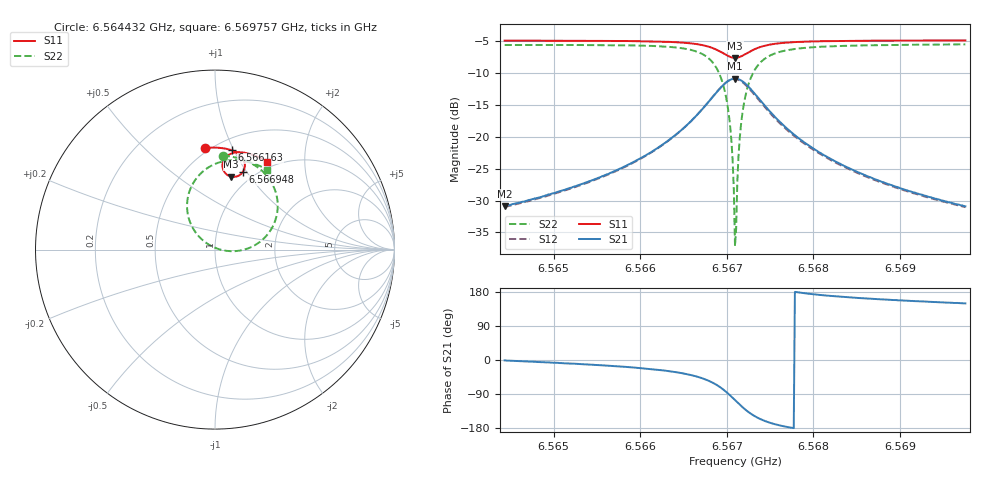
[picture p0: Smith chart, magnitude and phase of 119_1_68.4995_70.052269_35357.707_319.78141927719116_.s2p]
#  HZ  S  RI  R  50.00
! Rohde & Schwarz Vector Network Analyzer
! Rohde-Schwarz,ZNB20-2Port,1311601062101988,3.16
! Created: UTC 3/20/2024, 5:09:01 PM
! freq[Hz]  re:S11  im:S11  re:S21  im:S21  re:S12  im:S12  re:S22  im:S22
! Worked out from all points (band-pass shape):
!   401 points, 6.564432 GHz to 6.569757 GHz, reference 50 ohm
!   highest |S21| = -10.85 dB at 6.567095 GHz (marker M1); lowest = -30.9 dB at 6.564432 GHz (marker M2)
!   |S21| within 3 dB of the highest: 6.566829 GHz to 6.567361 GHz (531.8 kHz wide, 0.0081 % of centre)
!   lowest |S11| = -7.6 dB at 6.567095 GHz (marker M3), VSWR 2.43, Z = 41.6 + j40.9 ohm
!   |S11| at or under -10 dB: nowhere
!   |S22| runs from -37.1 to -5.5 dB; largest |S21 - S12| = 0.014
!   S11 on the Smith chart (normalised r, x): 6.564432 GHz: 0.47, +0.79; 6.566163 GHz: 0.61, +0.98; 6.566948 GHz: 0.88, +0.95; 6.569757 GHz: 0.91, +1.32
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6.5644321e9  -0.0571 0.5661  0.0284 -0.000499  0.028 -0.00109  0.0429 0.524
6.565324e9  0.0162 0.5676  0.0419 -0.00819  0.0412 -0.00877  0.1282 0.5096
6.5661627e9  0.0952 0.5528  0.0714 -0.033  0.0704 -0.0338  0.2394 0.4572
6.5662159e9  0.1008 0.5505  0.0746 -0.0367  0.0734 -0.0374  0.2488 0.4498
6.5665221e9  0.1367 0.5295  0.097 -0.0719  0.0956 -0.0734  0.3107 0.3803
6.5667351e9  0.1613 0.4961  0.1101 -0.1301  0.1075 -0.1327  0.3485 0.2682
6.5668549e9  0.1661 0.4629  0.0996 -0.1881  0.0947 -0.1915  0.3343 0.1577
6.5669481e9  0.1537 0.4305  0.0608 -0.2434  0.0525 -0.2464  0.2641 0.0546
6.566988e9  0.1413 0.4179  0.0312 -0.2641  0.0211 -0.2657  0.2097 0.0175
6.567028e9  0.1243 0.4087  -0.0063 -0.2779  -0.018 -0.2772  0.1408 -0.00521
6.5670546e9  0.1112 0.4057  -0.0346 -0.2812  -0.0467 -0.2785  0.0898 -0.00905
6.5670812e9  0.0973 0.4054  -0.0637 -0.2792  -0.0759 -0.2743  0.038 -0.00217
6.5670945e9  0.0902 0.4065  -0.078 -0.2758  -0.0902 -0.2697  0.0128 0.00537
6.5671211e9  0.077 0.4111  -0.1056 -0.265  -0.1166 -0.2572  -0.0343 0.0275
6.5671478e9  0.0654 0.4183  -0.1302 -0.2495  -0.1395 -0.2397  -0.0749 0.0582
6.5671877e9  0.0519 0.433  -0.1585 -0.2197  -0.1651 -0.2084  -0.1202 0.1143
6.5672409e9  0.0427 0.4551  -0.1802 -0.1754  -0.1833 -0.164  -0.1509 0.1945
6.5673075e9  0.0427 0.4811  -0.1862 -0.1249  -0.1858 -0.1148  -0.1526 0.2831
6.5675471e9  0.0802 0.5303  -0.1429 -0.0279  -0.1398 -0.0236  -0.0542 0.446
6.5679864e9  0.1433 0.5423  -0.0817 0.00886  -0.0796 0.0101  0.0835 0.4977
6.5688783e9  0.227 0.5218  -0.0395 0.0152  -0.0386 0.0155  0.2141 0.4803
6.5697569e9  0.2923 0.4903  -0.0245 0.0145  -0.024 0.0147  0.2918 0.4446
